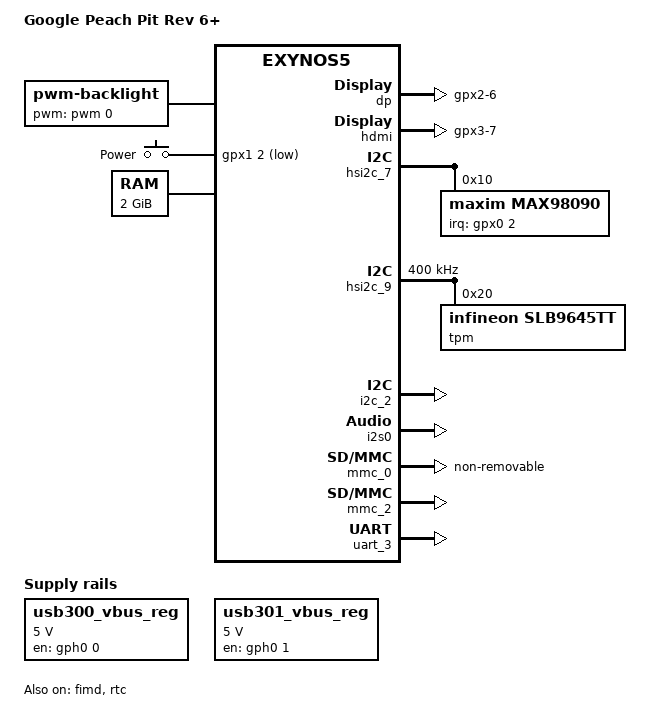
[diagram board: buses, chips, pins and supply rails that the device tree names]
/*
 * Google Peach Pit Rev 6+ board device tree source
 *
 * Copyright (c) 2014 Google, Inc
 *
 * This program is free software; you can redistribute it and/or modify
 * it under the terms of the GNU General Public License version 2 as
 * published by the Free Software Foundation.
 */

/dts-v1/;
#include <dt-bindings/input/input.h>
#include <dt-bindings/gpio/gpio.h>
#include "exynos5420.dtsi"

/ {
	model = "Google Peach Pit Rev 6+";

	compatible = "google,pit-rev16",
		"google,pit-rev15", "google,pit-rev14",
		"google,pit-rev13", "google,pit-rev12",
		"google,pit-rev11", "google,pit-rev10",
		"google,pit-rev9", "google,pit-rev8",
		"google,pit-rev7", "google,pit-rev6",
		"google,pit", "google,peach","samsung,exynos5420",
		"samsung,exynos5";

	backlight {
		compatible = "pwm-backlight";
		pwms = <&pwm 0 1000000 0>;
		brightness-levels = <0 100 500 1000 1500 2000 2500 2800>;
		default-brightness-level = <7>;
		pinctrl-0 = <&pwm0_out>;
		pinctrl-names = "default";
	};

	fixed-rate-clocks {
		oscclk {
			compatible = "samsung,exynos5420-oscclk";
			clock-frequency = <24000000>;
		};
	};

	gpio-keys {
		compatible = "gpio-keys";

		pinctrl-names = "default";
		pinctrl-0 = <&power_key_irq>;

		power {
			label = "Power";
			gpios = <&gpx1 2 GPIO_ACTIVE_LOW>;
			linux,code = <KEY_POWER>;
			gpio-key,wakeup;
		};
	};

	memory {
		reg = <0x20000000 0x80000000>;
	};

	sound {
		compatible = "google,snow-audio-max98090";

		samsung,model = "Peach-Pit-I2S-MAX98090";
		samsung,i2s-controller = <&i2s0>;
		samsung,audio-codec = <&max98090>;
	};

	usb300_vbus_reg: regulator-usb300 {
		compatible = "regulator-fixed";
		regulator-name = "P5.0V_USB3CON0";
		regulator-min-microvolt = <5000000>;
		regulator-max-microvolt = <5000000>;
		gpio = <&gph0 0 0>;
		pinctrl-names = "default";
		pinctrl-0 = <&usb300_vbus_en>;
		enable-active-high;
	};

	usb301_vbus_reg: regulator-usb301 {
		compatible = "regulator-fixed";
		regulator-name = "P5.0V_USB3CON1";
		regulator-min-microvolt = <5000000>;
		regulator-max-microvolt = <5000000>;
		gpio = <&gph0 1 0>;
		pinctrl-names = "default";
		pinctrl-0 = <&usb301_vbus_en>;
		enable-active-high;
	};
};

&dp {
	status = "okay";
	pinctrl-names = "default";
	pinctrl-0 = <&dp_hpd_gpio>;
	samsung,color-space = <0>;
	samsung,dynamic-range = <0>;
	samsung,ycbcr-coeff = <0>;
	samsung,color-depth = <1>;
	samsung,link-rate = <0x06>;
	samsung,lane-count = <2>;
	samsung,hpd-gpio = <&gpx2 6 0>;

	display-timings {
		native-mode = <&timing1>;

		timing1: timing@1 {
			clock-frequency = <70589280>;
			hactive = <1366>;
			vactive = <768>;
			hfront-porch = <40>;
			hback-porch = <40>;
			hsync-len = <32>;
			vback-porch = <10>;
			vfront-porch = <12>;
			vsync-len = <6>;
		};
	};
};

&fimd {
	status = "okay";
	samsung,invert-vclk;
};

&hdmi {
	status = "okay";
	hpd-gpio = <&gpx3 7 GPIO_ACTIVE_HIGH>;
	pinctrl-names = "default";
	pinctrl-0 = <&hdmi_hpd_irq>;
	ddc = <&i2c_2>;
};

&hsi2c_7 {
	status = "okay";

	max98090: codec@10 {
		compatible = "maxim,max98090";
		reg = <0x10>;
		interrupts = <2 0>;
		interrupt-parent = <&gpx0>;
		pinctrl-names = "default";
		pinctrl-0 = <&max98090_irq>;
	};
};

&hsi2c_9 {
	status = "okay";
	clock-frequency = <400000>;

	tpm@20 {
		compatible = "infineon,slb9645tt";
		reg = <0x20>;

		/* Unused irq; but still need to configure the pins */
		pinctrl-names = "default";
		pinctrl-0 = <&tpm_irq>;
	};
};

&i2c_2 {
	status = "okay";
	samsung,i2c-sda-delay = <100>;
	samsung,i2c-max-bus-freq = <66000>;
	samsung,i2c-slave-addr = <0x50>;
};

&i2s0 {
	status = "okay";
};

&mmc_0 {
	status = "okay";
	num-slots = <1>;
	broken-cd;
	caps2-mmc-hs200-1_8v;
	supports-highspeed;
	non-removable;
	card-detect-delay = <200>;
	clock-frequency = <400000000>;
	samsung,dw-mshc-ciu-div = <3>;
	samsung,dw-mshc-sdr-timing = <0 4>;
	samsung,dw-mshc-ddr-timing = <0 2>;
	pinctrl-names = "default";
	pinctrl-0 = <&sd0_clk &sd0_cmd &sd0_bus4 &sd0_bus8>;

	slot@0 {
		reg = <0>;
		bus-width = <8>;
	};
};

&mmc_2 {
	status = "okay";
	num-slots = <1>;
	supports-highspeed;
	card-detect-delay = <200>;
	clock-frequency = <400000000>;
	samsung,dw-mshc-ciu-div = <3>;
	samsung,dw-mshc-sdr-timing = <2 3>;
	samsung,dw-mshc-ddr-timing = <1 2>;
	pinctrl-names = "default";
	pinctrl-0 = <&sd2_clk &sd2_cmd &sd2_cd &sd2_bus4>;

	slot@0 {
		reg = <0>;
		bus-width = <4>;
	};
};


&pinctrl_0 {
	pinctrl-names = "default";
	pinctrl-0 = <&mask_tpm_reset>;

	max98090_irq: max98090-irq {
		samsung,pins = "gpx0-2";
		samsung,pin-function = <0>;
		samsung,pin-pud = <0>;
		samsung,pin-drv = <0>;
	};

	/* We need GPX0_6 to be low at sleep time; just keep it low always */
	mask_tpm_reset: mask-tpm-reset {
		samsung,pins = "gpx0-6";
		samsung,pin-function = <1>;
		samsung,pin-pud = <0>;
		samsung,pin-drv = <0>;
		samsung,pin-val = <0>;
	};

	tpm_irq: tpm-irq {
		samsung,pins = "gpx1-0";
		samsung,pin-function = <0>;
		samsung,pin-pud = <0>;
		samsung,pin-drv = <0>;
	};

	power_key_irq: power-key-irq {
		samsung,pins = "gpx1-2";
		samsung,pin-function = <0>;
		samsung,pin-pud = <0>;
		samsung,pin-drv = <0>;
	};

	dp_hpd_gpio: dp_hpd_gpio {
		samsung,pins = "gpx2-6";
		samsung,pin-function = <0>;
		samsung,pin-pud = <3>;
		samsung,pin-drv = <0>;
	};

	hdmi_hpd_irq: hdmi-hpd-irq {
		samsung,pins = "gpx3-7";
		samsung,pin-function = <0>;
		samsung,pin-pud = <1>;
		samsung,pin-drv = <0>;
	};
};

&pinctrl_3 {
	usb300_vbus_en: usb300-vbus-en {
		samsung,pins = "gph0-0";
		samsung,pin-function = <1>;
		samsung,pin-pud = <0>;
		samsung,pin-drv = <0>;
	};

	usb301_vbus_en: usb301-vbus-en {
		samsung,pins = "gph0-1";
		samsung,pin-function = <1>;
		samsung,pin-pud = <0>;
		samsung,pin-drv = <0>;
	};
};

&rtc {
	status = "okay";
};

&uart_3 {
	status = "okay";
};

&usbdrd_phy0 {
	vbus-supply = <&usb300_vbus_reg>;
};

&usbdrd_phy1 {
	vbus-supply = <&usb301_vbus_reg>;
};

/*
 * Use longest HW watchdog in SoC (32 seconds) since the hardware
 * watchdog provides no debugging information (compared to soft/hard
 * lockup detectors) and so should be last resort.
 */
&watchdog {
	timeout-sec = <32>;
};

